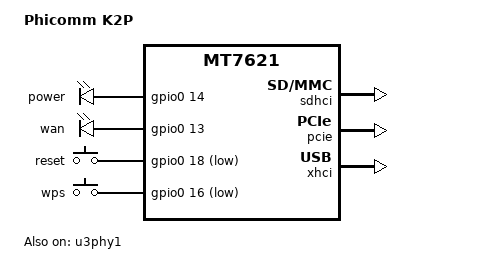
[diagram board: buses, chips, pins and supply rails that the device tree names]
/dts-v1/;

/dts-v1/;

#include "mt7621.dtsi"
#include <dt-bindings/input/input.h>
#include "mt7621-spi-32m-layout.dtsi"
#include "mt7621-raeth-gmac2.dtsi"
#include "mt7621-pinctrl-default-gpio.dtsi"

/ {
	compatible = "mediatek,mt7621-soc";
	model = "Phicomm K2P";

	chosen {
		bootargs = "console=ttyS0,57600";
	};

	leds {
		compatible = "gpio-leds";

		
                sys_blue { 
                         label = "power";
                         gpios = <&gpio0 14 GPIO_ACTIVE_HIGH>;
                };
	
                wan {
                    label = "wan";
                    gpios = <&gpio0 13 GPIO_ACTIVE_HIGH>; 
		};		    
	
	};
        
        gpio-keys-polled {
		compatible = "gpio-keys-polled";
		#address-cells = <1>;
		#size-cells = <0>;
		poll-interval = <20>;
		
		reset {
			label = "reset";
			gpios = <&gpio0 18 GPIO_ACTIVE_LOW>;
			linux,code = <KEY_RESTART>;
		};

		wps {
			label = "wps";
			gpios = <&gpio0 16 GPIO_ACTIVE_LOW>;
			linux,code = <KEY_WPS_BUTTON>;
		};
	};
};

&sdhci {
	status = "okay";
};

&pcie {
	status = "okay";
};

&xhci {
	status = "okay";
};

&u3phy1 {
	status = "okay";
};
